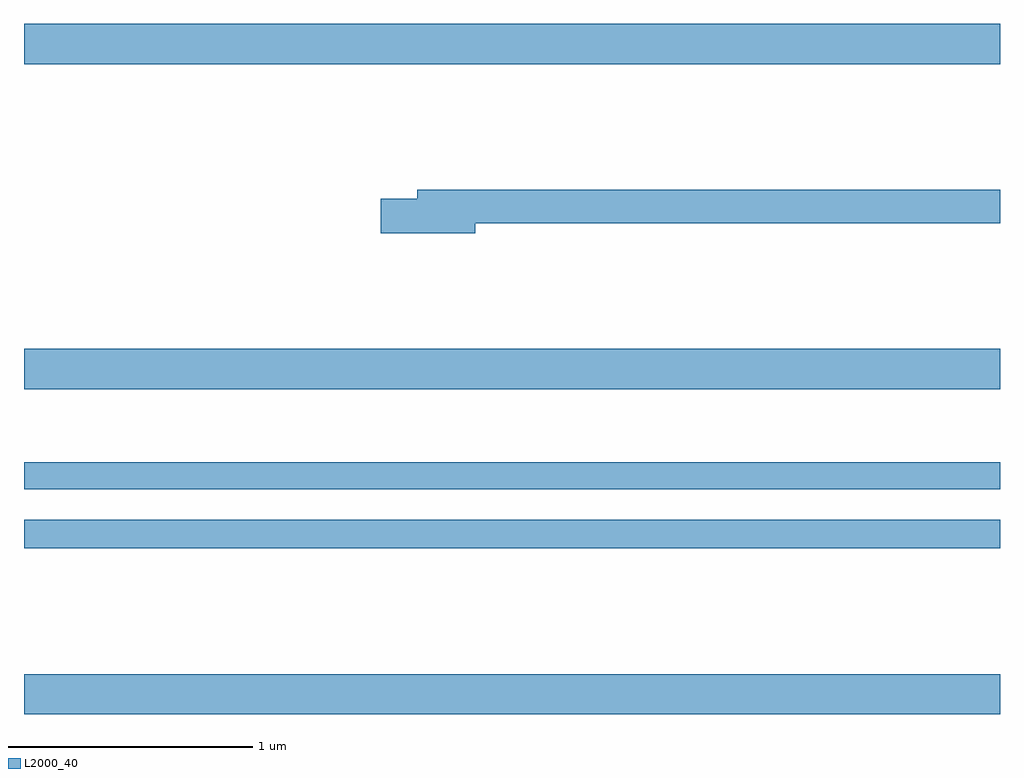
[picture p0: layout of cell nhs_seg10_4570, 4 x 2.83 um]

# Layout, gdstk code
import gdstk
lib = gdstk.Library(unit=1e-6, precision=1e-09)
def R(c, l, rs):  # rectangles x0, y0, x1, y1
    for r in rs: c.add(gdstk.rectangle(r[:2], r[2:], *l))
def A(c, l, x, y, w, h, nx, ny, dx, dy):  # array of equal rectangles
    R(c, l, [(x+i*dx, y+j*dy, x+i*dx+w, y+j*dy+h) for i in range(nx) for j in range(ny)])
def P(c, l, *ps):  # polygons
    for p in ps: c.add(gdstk.Polygon(p, *l))
L2000_40 = (2000, 40)

nhs_seg10_4570 = lib.new_cell('nhs_seg10_4570')
A(nhs_seg10_4570, L2000_40, 371, 1321.628, 4, 0.164, 1, 3, 0, 1.332)
R(nhs_seg10_4570, L2000_40, [(371,1322.308,375,1322.424), (371,1322.55,375,1322.659)])
P(nhs_seg10_4570, L2000_40, [(372.85,1323.64),(375,1323.64),(375,1323.776),(372.611,1323.776),(372.611,1323.74),(372.462,1323.74),(372.462,1323.598),(372.85,1323.598)])

lib.write_gds('nhs_seg10_4570.gds')
